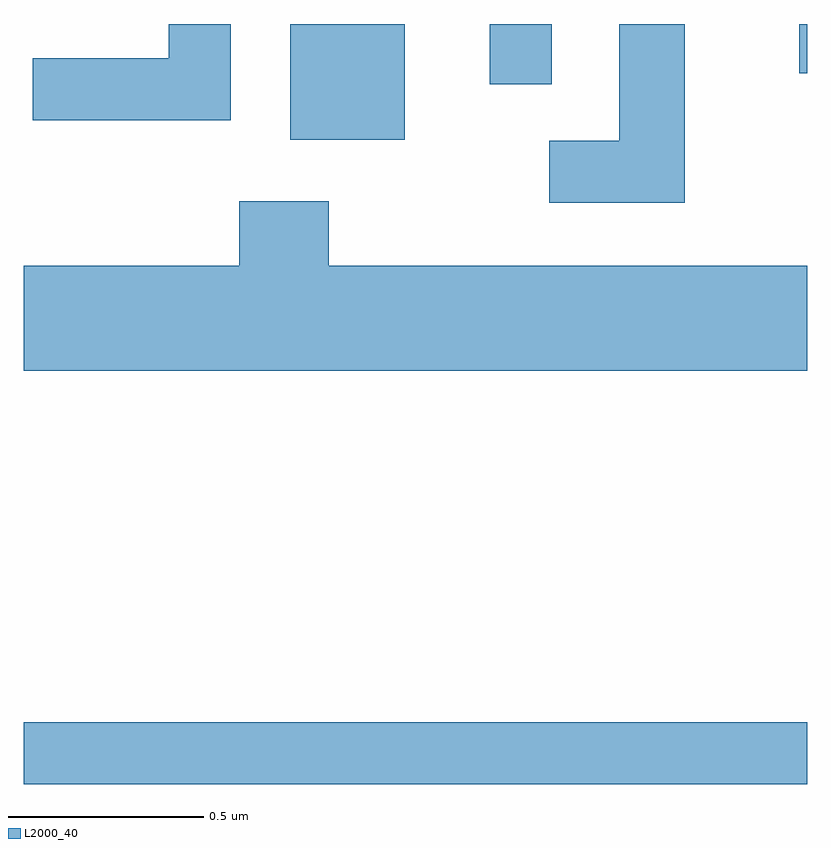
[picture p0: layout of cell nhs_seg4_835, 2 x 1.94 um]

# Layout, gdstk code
import gdstk
lib = gdstk.Library(unit=1e-6, precision=1e-09)
def R(c, l, rs):  # rectangles x0, y0, x1, y1
    for r in rs: c.add(gdstk.rectangle(r[:2], r[2:], *l))
def P(c, l, *ps):  # polygons
    for p in ps: c.add(gdstk.Polygon(p, *l))
L2000_40 = (2000, 40)

nhs_seg4_835 = lib.new_cell('nhs_seg4_835')
R(nhs_seg4_835, L2000_40, [(191.611,1267.041,193.611,1267.199), (192.291,1268.686,192.584,1268.982), (192.801,1268.828,192.959,1268.982), (193.591,1268.856,193.611,1268.982)])
P(nhs_seg4_835, L2000_40, [(193.299,1268.982),(193.131,1268.982),(193.131,1268.684),(192.953,1268.684),(192.953,1268.526),(193.299,1268.526)],
  [(192.139,1268.982),(191.981,1268.982),(191.981,1268.894),(191.633,1268.894),(191.633,1268.736),(192.139,1268.736)],
  [(193.611,1268.364),(192.389,1268.364),(192.389,1268.529),(192.161,1268.529),(192.161,1268.364),(191.611,1268.364),(191.611,1268.096),(193.611,1268.096)])

lib.write_gds('nhs_seg4_835.gds')
